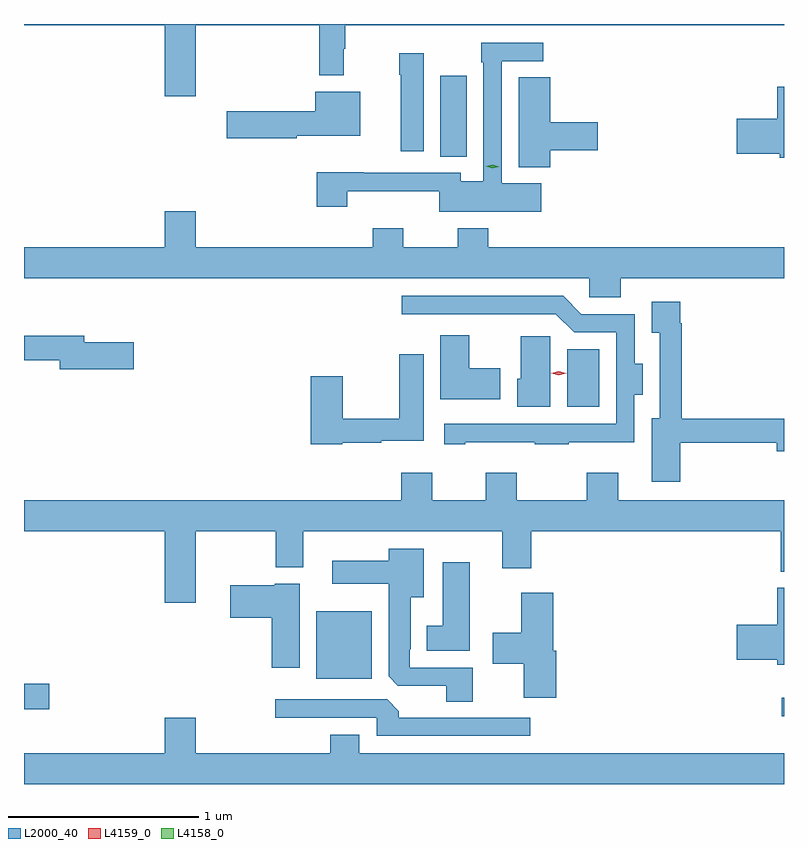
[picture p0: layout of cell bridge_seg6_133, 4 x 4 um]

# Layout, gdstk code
import gdstk
lib = gdstk.Library(unit=1e-6, precision=1e-09)
def R(c, l, rs):  # rectangles x0, y0, x1, y1
    for r in rs: c.add(gdstk.rectangle(r[:2], r[2:], *l))
def P(c, l, *ps):  # polygons
    for p in ps: c.add(gdstk.Polygon(p, *l))
L2000_40 = (2000, 40)
L4158_0 = (4158, 0)
L4159_0 = (4159, 0)

bridge_seg6_133 = lib.new_cell('bridge_seg6_133')
R(bridge_seg6_133, L2000_40, [(420.003,963.68,420.016,963.778), (416.016,963.716,416.149,963.851), (417.554,963.878,417.847,964.231), (418.874,965.309,419.044,965.611), (418.208,966.625,418.345,967.051)])
P(bridge_seg6_133, L2000_40, [(416.92,967.316),(417.571,967.316),(417.571,967.053),(417.7,967.053),(417.7,967.193),(417.707,967.193),(417.707,967.316),(420.016,967.316),(420.016,967.323),(416.016,967.323),(416.016,967.316),(416.756,967.316),(416.756,966.942),(416.92,966.942)],
  [(418.738,966.484),(418.53,966.484),(418.53,967.128),(418.75,967.128),(418.75,967.224),(418.422,967.224),(418.422,967.121),(418.434,967.121),(418.434,966.496),(418.315,966.496),(418.315,966.54),(417.805,966.54),(417.805,966.542),(417.557,966.542),(417.557,966.36),(417.717,966.36),(417.717,966.443),(418.202,966.443),(418.202,966.335),(418.738,966.335)],
  [(418.12,967.168),(417.991,967.168),(417.991,967.055),(417.998,967.055),(417.998,966.654),(418.12,966.654)],
  [(418.786,966.659),(419.035,966.659),(419.035,966.806),(418.786,966.806),(418.786,967.043),(418.619,967.043),(418.619,966.569),(418.786,966.569)],
  [(420.016,966.994),(419.981,966.994),(419.981,966.824),(419.766,966.824),(419.766,966.641),(419.993,966.641),(419.993,966.62),(420.016,966.62)],
  [(417.452,966.734),(417.787,966.734),(417.787,966.967),(417.548,966.967),(417.548,966.864),(417.084,966.864),(417.084,966.722),(417.452,966.722)],
  [(419.156,965.984),(420.016,965.984),(420.016,966.148),(418.46,966.148),(418.46,966.247),(418.3,966.247),(418.3,966.148),(418.011,966.148),(418.011,966.247),(417.851,966.247),(417.851,966.148),(416.92,966.148),(416.92,966.337),(416.756,966.337),(416.756,966.148),(416.016,966.148),(416.016,965.984),(418.992,965.984),(418.992,965.886),(419.156,965.886)],
  [(418.339,965.123),(418.705,965.123),(418.705,965.112),(418.883,965.112),(418.883,965.123),(419.229,965.123),(419.229,965.372),(419.272,965.372),(419.272,965.536),(419.23,965.536),(419.23,965.796),(418.95,965.796),(418.854,965.892),(418.005,965.892),(418.005,965.796),(418.815,965.796),(418.911,965.7),(419.133,965.7),(419.133,965.22),(418.227,965.22),(418.227,965.112),(418.339,965.112)],
  [(419.471,965.118),(419.978,965.118),(419.978,965.075),(420.016,965.075),(420.016,965.246),(419.477,965.246),(419.477,965.747),(419.47,965.747),(419.47,965.86),(419.321,965.86),(419.321,965.699),(419.361,965.699),(419.361,965.248),(419.321,965.248),(419.321,964.914),(419.471,964.914)],
  [(418.522,965.512),(418.36,965.512),(418.36,965.686),(418.208,965.686),(418.208,965.348),(418.522,965.348)],
  [(416.593,965.649),(416.332,965.649),(416.332,965.683),(416.016,965.683),(416.016,965.554),(416.204,965.554),(416.204,965.507),(416.593,965.507)],
  [(418.786,965.68),(418.631,965.68),(418.631,965.457),(418.613,965.457),(418.613,965.309),(418.786,965.309)],
  [(417.69,965.118),(417.896,965.118),(417.896,965.129),(418.12,965.129),(418.12,965.584),(417.992,965.584),(417.992,965.246),(417.694,965.246),(417.694,965.47),(417.524,965.47),(417.524,965.11),(417.69,965.11)],
  [(416.92,964.652),(417.34,964.652),(417.34,964.463),(417.487,964.463),(417.487,964.652),(418.532,964.652),(418.532,964.458),(418.685,964.458),(418.685,964.652),(419.999,964.652),(419.999,964.441),(420.016,964.441),(420.016,964.816),(419.143,964.816),(419.143,964.96),(418.979,964.96),(418.979,964.816),(418.609,964.816),(418.609,964.96),(418.445,964.96),(418.445,964.816),(418.165,964.816),(418.165,964.96),(418.001,964.96),(418.001,964.816),(416.016,964.816),(416.016,964.652),(416.756,964.652),(416.756,964.278),(416.92,964.278)],
  [(418.378,963.936),(418.047,963.936),(418.047,964.033),(418.051,964.033),(418.051,964.307),(418.12,964.307),(418.12,964.561),(417.935,964.561),(417.935,964.498),(417.639,964.498),(417.639,964.376),(417.935,964.376),(417.935,963.889),(417.984,963.84),(418.238,963.84),(418.238,963.757),(418.378,963.757)],
  [(418.363,964.489),(418.22,964.489),(418.22,964.156),(418.136,964.156),(418.136,964.025),(418.363,964.025)],
  [(417.466,964.378),(417.336,964.378),(417.336,964.369),(417.102,964.369),(417.102,964.199),(417.32,964.199),(417.32,963.936),(417.466,963.936)],
  [(420.016,964.356),(419.981,964.356),(419.981,964.16),(419.766,964.16),(419.766,963.977),(419.981,963.977),(419.981,963.95),(420.016,963.95)],
  [(418.817,964.025),(418.802,964.025),(418.802,964.33),(418.634,964.33),(418.634,964.119),(418.482,964.119),(418.482,963.956),(418.646,963.956),(418.646,963.777),(418.817,963.777)],
  [(418.681,963.672),(417.989,963.672),(417.989,963.706),(417.927,963.768),(417.339,963.768),(417.339,963.672),(417.873,963.672),(417.873,963.576),(418.681,963.576)],
  [(420.016,963.484),(417.781,963.484),(417.781,963.583),(417.629,963.583),(417.629,963.484),(416.92,963.484),(416.92,963.673),(416.756,963.673),(416.756,963.484),(416.016,963.484),(416.016,963.323),(420.016,963.323)])
P(bridge_seg6_133, L4158_0, [(418.481,966.563),(418.447,966.574),(418.447,966.574),(418.447,966.575),(418.482,966.583),(418.516,966.571),(418.516,966.571),(418.516,966.571)])
P(bridge_seg6_133, L4159_0, [(418.831,965.475),(418.79,965.485),(418.79,965.486),(418.79,965.486),(418.831,965.495),(418.871,965.485),(418.871,965.485),(418.871,965.485)])

lib.write_gds('bridge_seg6_133.gds')
